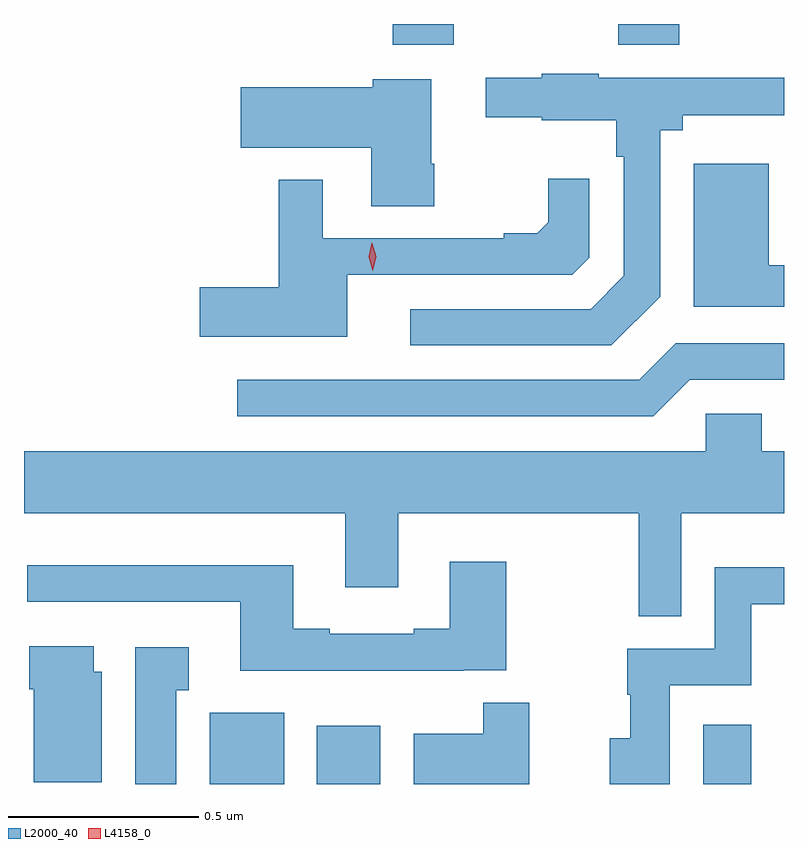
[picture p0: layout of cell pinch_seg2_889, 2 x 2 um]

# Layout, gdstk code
import gdstk
lib = gdstk.Library(unit=1e-6, precision=1e-09)
def R(c, l, rs):  # rectangles x0, y0, x1, y1
    for r in rs: c.add(gdstk.rectangle(r[:2], r[2:], *l))
def P(c, l, *ps):  # polygons
    for p in ps: c.add(gdstk.Polygon(p, *l))
L2000_40 = (2000, 40)
L4158_0 = (4158, 0)

pinch_seg2_889 = lib.new_cell('pinch_seg2_889')
R(pinch_seg2_889, L2000_40, [(527.667,604.3,527.863,604.488), (527.948,604.3,528.115,604.453), (528.965,604.3,529.092,604.456), (528.149,606.245,528.309,606.3), (528.742,606.245,528.902,606.3)])
P(pinch_seg2_889, L2000_40, [(528.852,605.582),(528.852,606.02),(528.912,606.02),(528.912,606.06),(529.178,606.06),(529.178,606.158),(528.69,606.158),(528.69,606.169),(528.54,606.169),(528.54,606.158),(528.393,606.158),(528.393,606.055),(528.54,606.055),(528.54,606.047),(528.736,606.047),(528.736,605.951),(528.756,605.951),(528.756,605.637),(528.669,605.55),(528.195,605.55),(528.195,605.454),(528.724,605.454)],
  [(528.258,605.932),(528.25,605.932),(528.25,606.154),(528.096,606.154),(528.096,606.133),(527.748,606.133),(527.748,605.975),(528.092,605.975),(528.092,605.821),(528.258,605.821)],
  [(529.178,605.665),(529.138,605.665),(529.138,605.932),(528.941,605.932),(528.941,605.556),(529.178,605.556)],
  [(528.028,605.64),(528.621,605.64),(528.666,605.685),(528.666,605.893),(528.558,605.893),(528.558,605.778),(528.528,605.749),(528.44,605.749),(528.44,605.736),(527.964,605.736),(527.964,605.89),(527.848,605.89),(527.848,605.607),(527.64,605.607),(527.64,605.477),(528.028,605.477)],
  [(528.93,605.364),(529.178,605.364),(529.178,605.46),(528.893,605.46),(528.797,605.364),(527.739,605.364),(527.739,605.268),(528.834,605.268)],
  [(528.907,605.012),(529.178,605.012),(529.178,605.176),(529.119,605.176),(529.119,605.274),(528.972,605.274),(528.972,605.176),(527.178,605.176),(527.178,605.012),(528.023,605.012),(528.023,604.818),(528.163,604.818),(528.163,605.012),(528.796,605.012),(528.796,604.741),(528.907,604.741)],
  [(528.335,604.599),(528.447,604.599),(528.447,604.885),(528.299,604.885),(528.299,604.708),(528.203,604.708),(528.203,604.695),(527.983,604.695),(527.983,604.708),(527.887,604.708),(527.887,604.876),(527.187,604.876),(527.187,604.779),(527.747,604.779),(527.747,604.598),(528.335,604.598)],
  [(528.877,604.56),(529.092,604.56),(529.092,604.773),(529.178,604.773),(529.178,604.87),(528.996,604.87),(528.996,604.656),(528.766,604.656),(528.766,604.535),(528.774,604.535),(528.774,604.42),(528.719,604.42),(528.719,604.3),(528.877,604.3)],
  [(527.383,604.596),(527.362,604.596),(527.362,604.663),(527.192,604.663),(527.192,604.55),(527.204,604.55),(527.204,604.304),(527.383,604.304)],
  [(527.578,604.547),(527.611,604.547),(527.611,604.66),(527.471,604.66),(527.471,604.3),(527.578,604.3)],
  [(528.508,604.514),(528.386,604.514),(528.386,604.432),(528.203,604.432),(528.203,604.3),(528.508,604.3)])
P(pinch_seg2_889, L4158_0, [(528.096,605.651),(528.096,605.651),(528.085,605.687),(528.093,605.723),(528.093,605.724),(528.094,605.723),(528.105,605.688),(528.096,605.651)])

lib.write_gds('pinch_seg2_889.gds')
